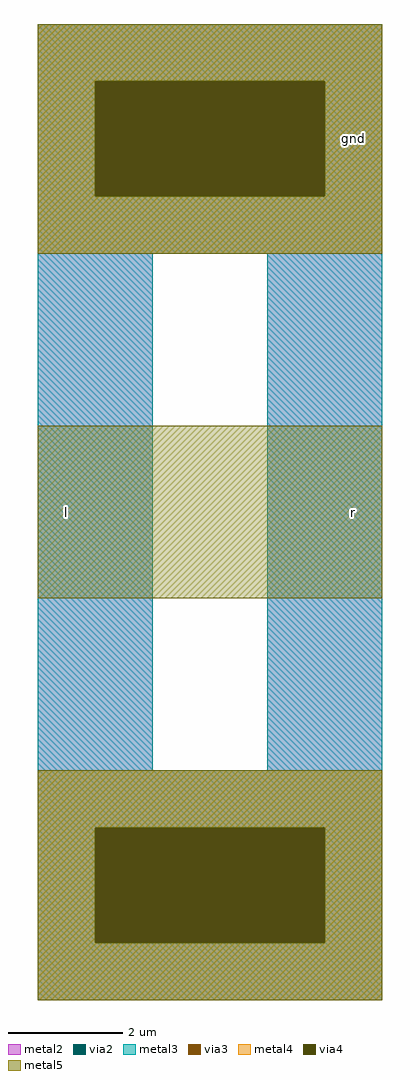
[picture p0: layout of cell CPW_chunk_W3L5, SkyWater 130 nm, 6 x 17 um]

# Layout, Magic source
magic
tech sky130B
<< metal2 >>
rect 0 1100 600 1200
rect 0 900 100 1100
rect 500 900 600 1100
rect 0 800 600 900
rect 0 -100 200 800
rect 400 -100 600 800
rect 0 -200 600 -100
rect 0 -400 100 -200
rect 500 -400 600 -200
rect 0 -500 600 -400
<< via2 >>
rect 100 900 500 1100
rect 100 -400 500 -200
<< metal3 >>
rect 0 1100 600 1200
rect 0 900 100 1100
rect 500 900 600 1100
rect 0 800 600 900
rect 0 -100 200 800
rect 400 -100 600 800
rect 0 -200 600 -100
rect 0 -400 100 -200
rect 500 -400 600 -200
rect 0 -500 600 -400
<< via3 >>
rect 100 900 500 1100
rect 100 -400 500 -200
<< metal4 >>
rect 0 1100 600 1200
rect 0 900 100 1100
rect 500 900 600 1100
rect 0 800 600 900
rect 0 -200 600 -100
rect 0 -400 100 -200
rect 500 -400 600 -200
rect 0 -500 600 -400
<< via4 >>
rect 100 900 500 1100
rect 100 -400 500 -200
<< metal5 >>
rect 0 1100 600 1200
rect 0 900 100 1100
rect 500 900 600 1100
rect 0 800 600 900
rect 0 200 600 500
rect 0 -200 600 -100
rect 0 -400 100 -200
rect 500 -400 600 -200
rect 0 -500 600 -400
<< labels >>
rlabel metal5 500 800 600 1200 1 gnd
rlabel metal5 0 200 100 500 1 l
rlabel metal5 500 200 600 500 1 r
<< end >>
